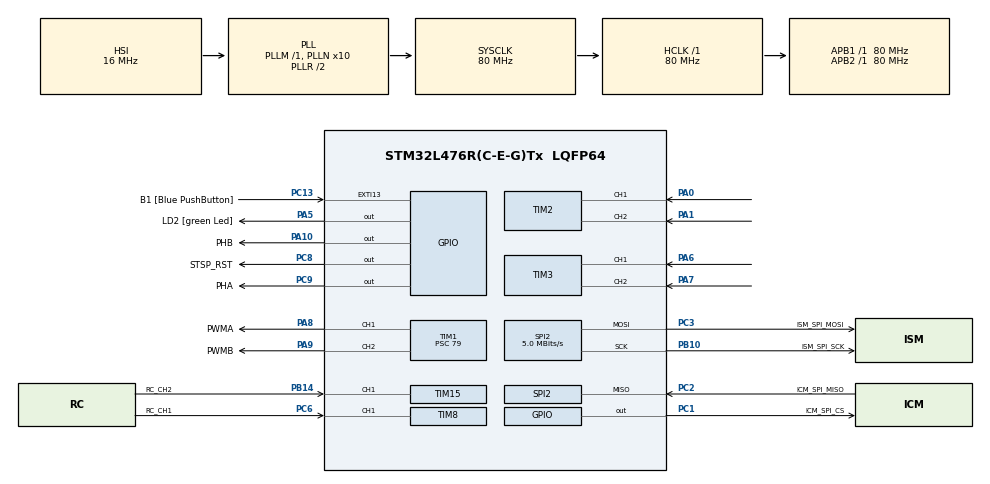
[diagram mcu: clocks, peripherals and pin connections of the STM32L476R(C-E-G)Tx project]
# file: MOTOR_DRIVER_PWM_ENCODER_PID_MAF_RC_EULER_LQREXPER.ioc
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Dma.Request0=SPI2_RX
Dma.Request1=SPI2_TX
Dma.SPI2_RX.0.Direction=DMA_PERIPH_TO_MEMORY
Dma.SPI2_RX.0.Instance=DMA1_Channel4
Dma.SPI2_RX.0.MemDataAlignment=DMA_MDATAALIGN_BYTE
Dma.SPI2_RX.0.MemInc=DMA_MINC_ENABLE
Dma.SPI2_RX.0.Mode=DMA_NORMAL
Dma.SPI2_RX.0.PeriphDataAlignment=DMA_PDATAALIGN_BYTE
Dma.SPI2_RX.0.PeriphInc=DMA_PINC_DISABLE
Dma.SPI2_RX.0.Priority=DMA_PRIORITY_LOW
Dma.SPI2_TX.1.Direction=DMA_MEMORY_TO_PERIPH
Dma.SPI2_TX.1.Instance=DMA1_Channel5
Dma.SPI2_TX.1.MemDataAlignment=DMA_MDATAALIGN_BYTE
Dma.SPI2_TX.1.MemInc=DMA_MINC_ENABLE
Dma.SPI2_TX.1.Mode=DMA_NORMAL
Dma.SPI2_TX.1.PeriphDataAlignment=DMA_PDATAALIGN_BYTE
Dma.SPI2_TX.1.PeriphInc=DMA_PINC_DISABLE
Dma.SPI2_TX.1.Priority=DMA_PRIORITY_LOW
Mcu.Family=STM32L4
Mcu.Name=STM32L476R(C-E-G)Tx
Mcu.Package=LQFP64
NVIC.DMA1_Channel4_IRQn=true\:0\:0\:false\:false\:true\:false\:true\:true
NVIC.DMA1_Channel5_IRQn=true\:0\:0\:false\:false\:true\:false\:true\:true
NVIC.PriorityGroup=NVIC_PRIORITYGROUP_4
NVIC.SPI2_IRQn=true\:0\:0\:false\:false\:true\:true\:true\:true
NVIC.TIM1_BRK_TIM15_IRQn=true\:0\:0\:false\:false\:true\:true\:true\:true
NVIC.TIM4_IRQn=true\:0\:0\:false\:false\:true\:true\:true\:true
NVIC.TIM8_BRK_IRQn=true\:0\:0\:false\:false\:true\:true\:true\:true
NVIC.TIM8_CC_IRQn=true\:0\:0\:false\:false\:true\:true\:true\:true
NVIC.TIM8_TRG_COM_IRQn=true\:0\:0\:false\:false\:true\:true\:true\:true
NVIC.TIM8_UP_IRQn=true\:0\:0\:false\:false\:true\:true\:true\:true
PA0.Signal=S_TIM2_CH1
PA1.Signal=S_TIM2_CH2
PA10.GPIO_Label=PHB
PA10.Signal=GPIO_Output
PA13\ (JTMS-SWDIO).GPIO_Label=TMS
PA13\ (JTMS-SWDIO).Signal=SYS_JTMS-SWDIO
PA14\ (JTCK-SWCLK).GPIO_Label=TCK
PA14\ (JTCK-SWCLK).Signal=SYS_JTCK-SWCLK
PA2.GPIO_Label=USART_TX
PA2.GPIO_Mode=GPIO_MODE_AF_PP
PA2.GPIO_PuPd=GPIO_NOPULL
PA2.GPIO_Speed=GPIO_SPEED_FREQ_VERY_HIGH
PA2.Signal=USART2_TX
PA3.GPIO_Label=USART_RX
PA3.GPIO_Mode=GPIO_MODE_AF_PP
PA3.GPIO_PuPd=GPIO_NOPULL
PA3.GPIO_Speed=GPIO_SPEED_FREQ_VERY_HIGH
PA3.Signal=USART2_RX
PA5.GPIO_Label=LD2 [green Led]
PA5.GPIO_ModeDefaultOutputPP=GPIO_MODE_OUTPUT_PP
PA5.GPIO_PuPd=GPIO_NOPULL
PA5.GPIO_Speed=GPIO_SPEED_FREQ_LOW
PA5.Signal=GPIO_Output
PA6.Signal=S_TIM3_CH1
PA7.Signal=S_TIM3_CH2
PA8.GPIO_Label=PWMA
PA8.Signal=S_TIM1_CH1
PA9.GPIO_Label=PWMB
PA9.Signal=S_TIM1_CH2
PB10.GPIO_Label=ISM_SPI_SCK
PB10.Mode=Full_Duplex_Master
PB10.Signal=SPI2_SCK
PB14.GPIO_Label=RC_CH2
PB14.Signal=S_TIM15_CH1
PB3\ (JTDO-TRACESWO).GPIO_Label=SWO
PB3\ (JTDO-TRACESWO).Signal=SYS_JTDO-SWO
PC1.GPIO_Label=ICM_SPI_CS
PC1.GPIO_PuPd=GPIO_PULLUP
PC1.Signal=GPIO_Output
PC13.GPIO_Label=B1 [Blue PushButton]
PC13.GPIO_ModeDefaultEXTI=GPIO_MODE_IT_FALLING
PC13.GPIO_PuPd=GPIO_NOPULL
PC13.Signal=GPXTI13
PC14-OSC32_IN\ (PC14).Signal=RCC_OSC32_IN
PC15-OSC32_OUT\ (PC15).Signal=RCC_OSC32_OUT
PC2.GPIO_Label=ICM_SPI_MISO
PC2.Mode=Full_Duplex_Master
PC2.Signal=SPI2_MISO
PC3.GPIO_Label=ISM_SPI_MOSI
PC3.Mode=Full_Duplex_Master
PC3.Signal=SPI2_MOSI
PC6.GPIO_Label=RC_CH1
PC6.Signal=S_TIM8_CH1
PC8.GPIO_Label=STSP_RST
PC8.Signal=GPIO_Output
PC9.GPIO_Label=PHA
PC9.Signal=GPIO_Output
PH0-OSC_IN\ (PH0).Signal=RCC_OSC_IN
PH1-OSC_OUT\ (PH1).Signal=RCC_OSC_OUT
ProjectManager.HeapSize=0x200
ProjectManager.StackSize=0x400
ProjectManager.TargetToolchain=STM32CubeIDE
RCC.ADCFreq_Value=64000000
RCC.AHBFreq_Value=80000000
RCC.APB1Freq_Value=80000000
RCC.APB1TimFreq_Value=80000000
RCC.APB2Freq_Value=80000000
RCC.APB2TimFreq_Value=80000000
RCC.CortexFreq_Value=80000000
RCC.HCLKFreq_Value=80000000
RCC.HSE_VALUE=8000000
RCC.HSI_VALUE=16000000
RCC.LSE_VALUE=32768
RCC.MSI_VALUE=4000000
RCC.PLLN=10
RCC.PLLSourceVirtual=RCC_PLLSOURCE_HSI
RCC.PREFETCH_ENABLE=1
RCC.SYSCLKFreq_VALUE=80000000
RCC.SYSCLKSource=RCC_SYSCLKSOURCE_PLLCLK
RCC.USBFreq_Value=64000000
RCC.VCOOutputFreq_Value=160000000
SH.S_TIM15_CH1.0=TIM15_CH1,PWM_Input_1
SH.S_TIM1_CH1.0=TIM1_CH1,PWM Generation1 CH1
SH.S_TIM1_CH2.0=TIM1_CH2,PWM Generation2 CH2
SH.S_TIM2_CH1.0=TIM2_CH1,Encoder_Interface
SH.S_TIM2_CH2.0=TIM2_CH2,Encoder_Interface
SH.S_TIM3_CH1.0=TIM3_CH1,Encoder_Interface
SH.S_TIM3_CH2.0=TIM3_CH2,Encoder_Interface
SH.S_TIM8_CH1.0=TIM8_CH1,PWM_Input_1
SPI2.BaudRatePrescaler=SPI_BAUDRATEPRESCALER_16
SPI2.CLKPhase=SPI_PHASE_2EDGE
SPI2.CLKPolarity=SPI_POLARITY_HIGH
SPI2.CalculateBaudRate=5.0 MBits/s
SPI2.DataSize=SPI_DATASIZE_8BIT
SPI2.Direction=SPI_DIRECTION_2LINES
SPI2.Mode=SPI_MODE_MASTER
SPI2.VirtualType=VM_MASTER
STMicroelectronics.X-CUBE-ALGOBUILD.1.4.0.LibraryCcDSPOoLibraryJjDSPOoLibrary=true
TIM1.Channel-PWM\ Generation1\ CH1=TIM_CHANNEL_1
TIM1.Channel-PWM\ Generation2\ CH2=TIM_CHANNEL_2
TIM1.Period=999
TIM1.Prescaler=79
TIM15.Prescaler=9
TIM4.Period=1999
TIM4.Prescaler=79
TIM8.Prescaler=9
VP_STMicroelectronics.X-CUBE-ALGOBUILD_VS_DSPOoLibraryJjLibrary_1.4.0_1.4.0.Mode=DSPOoLibraryJjLibrary
VP_TIM15_VS_ClockSourceINT.Mode=Internal
VP_TIM1_VS_ClockSourceINT.Mode=Internal
VP_TIM4_VS_ClockSourceINT.Mode=Internal
VP_TIM8_VS_ClockSourceINT.Mode=Internal
board=NUCLEO-L476RG

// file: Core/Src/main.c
/* USER CODE BEGIN Header */
/**
  ******************************************************************************
  * @file           : main.c
  * @brief          : Main program body
  ******************************************************************************
  * @attention
  *
  * Copyright (c) 2024 STMicroelectronics.
  * All rights reserved.
  *
  * This software is licensed under terms that can be found in the LICENSE file
  * in the root directory of this software component.
  * If no LICENSE file comes with this software, it is provided AS-IS.
  *
  ******************************************************************************
  */
/* USER CODE END Header */
#include "main.h"

/* USER CODE BEGIN Includes */
#include "motor_control.h"
#include "stdio.h"
#include "motor_encoder.h"
#include "pid_control.h"
#include "icm_20948.h"
#include "imu_data.h"
#include "euler_angles.h"
#include "lqr.h"
/* USER CODE END Includes */

/* USER CODE BEGIN PD */
#define RC_OFFSET 12000
/* USER CODE END PD */

SPI_HandleTypeDef hspi2;
DMA_HandleTypeDef hdma_spi2_rx;
DMA_HandleTypeDef hdma_spi2_tx;

TIM_HandleTypeDef htim1;
TIM_HandleTypeDef htim2;
TIM_HandleTypeDef htim3;
TIM_HandleTypeDef htim4;
TIM_HandleTypeDef htim8;
TIM_HandleTypeDef htim15;

/* USER CODE BEGIN PV */
const static motor_inst motor_a = { .htim_motor = &htim1,
									.htim_motor_ch = TIM_CHANNEL_1,
									.mdir_pin_number = PHA_Pin,
									.mdir_pin_port = PHA_GPIO_Port,
									.rst_pin_number = STSP_RST_Pin,
									.rst_pin_port = STSP_RST_GPIO_Port};
const static motor_inst motor_b = { .htim_motor = &htim1,
									.htim_motor_ch = TIM_CHANNEL_2,
									.mdir_pin_number = PHB_Pin,
									.mdir_pin_port = PHB_GPIO_Port,
									.rst_pin_number = STSP_RST_Pin,
									.rst_pin_port = STSP_RST_GPIO_Port};

static encoder_inst  motora_enc = 	{.first_time = 0,
											.htim_encoder = &htim3,
											.last_counter_value = 0,
											.position = 0,
											.timer_period = 0.01,
											.velocity = 0};
static encoder_inst  motorb_enc = 	{.first_time = 0,
											.htim_encoder = &htim2,
											.last_counter_value = 0,
											.position = 0,
											.timer_period = 0.01,
											.velocity = 0};
static pid_instance mota_pid = {.d_gain = 0,
								.error_integral = 0,
								.i_gain = 25,
								.integral_max = 5000,
								.last_error = 0,
								.output = 0,
								.p_gain = 20,
								.pid_max = 100,
								.sam_rate = 100};

float temp_velocity;
uint8_t timer_flag;
int32_t duty_cyclech1, duty_cyclech2;
icm_20948_data icm_data;
imu_norm imu_norm_data;
euler_angles euler_angles_robot, euler_angles_old;
StateTypeDef robot_state;
float force;
/* USER CODE END PV */

void SystemClock_Config(void);
static void MX_GPIO_Init(void);
static void MX_DMA_Init(void);
static void MX_TIM1_Init(void);
static void MX_TIM2_Init(void);
static void MX_TIM3_Init(void);
static void MX_TIM4_Init(void);
static void MX_TIM8_Init(void);
static void MX_TIM15_Init(void);
static void MX_SPI2_Init(void);

/* USER CODE BEGIN 0 */
void HAL_TIM_IC_CaptureCallback(TIM_HandleTypeDef *htim)
{
	//int32_t frequency;
	uint32_t capture_value;
	static uint8_t first_time1 = 1, first_time2 = 1;

	if (htim == &htim8)
	{
		if(first_time1 == 0)
		{
			if(htim ->Channel == HAL_TIM_ACTIVE_CHANNEL_1)
			{
				capture_value = HAL_TIM_ReadCapturedValue(htim, TIM_CHANNEL_1);
			}
			if(htim ->Channel == HAL_TIM_ACTIVE_CHANNEL_2)
			{
				duty_cyclech1 = HAL_TIM_ReadCapturedValue(htim, TIM_CHANNEL_2) - RC_OFFSET;
			}

		}
		else
		{
			first_time1 = 0;
		}
	}
	if (htim == &htim15)
	{
		if(first_time2 == 0)
		{
			if(htim ->Channel == HAL_TIM_ACTIVE_CHANNEL_1)
			{
				capture_value = HAL_TIM_ReadCapturedValue(htim, TIM_CHANNEL_1);
			}
			if(htim ->Channel == HAL_TIM_ACTIVE_CHANNEL_2)
			{
				duty_cyclech2 = HAL_TIM_ReadCapturedValue(htim, TIM_CHANNEL_2) - RC_OFFSET;
			}
		}
		else
		{
			first_time2 = 0;
		}
	}
}
/* USER CODE END 0 */

int main(void)
{

  /* MCU Configuration--------------------------------------------------------*/

  /* Reset of all peripherals, Initializes the Flash interface and the Systick. */
  HAL_Init();

  /* Configure the system clock */
  SystemClock_Config();

  /* Initialize all configured peripherals */
  MX_GPIO_Init();
  MX_DMA_Init();
  MX_TIM1_Init();
  MX_TIM2_Init();
  MX_TIM3_Init();
  MX_TIM4_Init();
  MX_TIM8_Init();
  MX_TIM15_Init();
  MX_SPI2_Init();
  /* USER CODE BEGIN 2 */

  HAL_TIM_PWM_Start(&htim1, TIM_CHANNEL_1);
  HAL_TIM_PWM_Start(&htim1, TIM_CHANNEL_2);
  enable_motor((motor_inst*)&motor_a);
  enable_motor((motor_inst*)&motor_b);
//  HAL_Delay(100);
//  set_speed_open((motor_inst*)&motor_a, 20.0);
//  set_speed_open((motor_inst*)&motor_b, 20.0);
//  HAL_Delay(3000);
//  set_speed_open((motor_inst*)&motor_a, -10.0);
//   set_speed_open((motor_inst*)&motor_b, -20.0);
//   HAL_Delay(3000);
//   disable_motor((motor_inst*)&motor_a);
//   disable_motor((motor_inst*)&motor_b);
  HAL_Delay(1000);
  reset_encoder(&motora_enc);
  reset_encoder(&motorb_enc);
  reset_pid(&mota_pid);
  icm_20948_init();
  icm_20948_read_data(&icm_data);
  sensor2imu(icm_data, &imu_norm_data);
  complementary_filter_euler(imu_norm_data,  &euler_angles_robot);
  euler_angles_old = euler_angles_robot;
  /* USER CODE END 2 */

  /* Infinite loop */
  /* USER CODE BEGIN WHILE */
  while (1)
  {
	  if(timer_flag)
	  {
		  timer_flag = 0;
		  get_encoder_speed(&motora_enc);
		  get_encoder_speed(&motorb_enc);
		  temp_velocity = motora_enc.velocity;
		  //apply_pid(&mota_pid, 5 - temp_velocity);
//		  set_speed_open((motor_inst*)&motor_a, 10.0);
//		  set_speed_open((motor_inst*)&motor_b, 10.0);
		  icm_20948_read_data(&icm_data);
		  sensor2imu(icm_data, &imu_norm_data);
		  complementary_filter_euler(imu_norm_data,  &euler_angles_robot);
		  robot_state.angle = euler_angles_robot.pitch;
		  robot_state.angle_vel = (euler_angles_robot.pitch -
				  	  euler_angles_old.pitch) * SAMPLE_RATE;
		  robot_state.position = (motora_enc.position + motorb_enc.position) / 2 ;
		  robot_state.velocity = (motora_enc.velocity + motorb_enc.velocity) / 2 ;
		  euler_angles_old = euler_angles_robot;
		  apply_lqr(robot_state, &force);
		  if (euler_angles_robot.pitch < 1.0 && euler_angles_robot.pitch > -1.0)
		  {
			  apply_force((motor_inst*)&motor_a, force, robot_state.velocity);
			  apply_force((motor_inst*)&motor_b, force, robot_state.velocity);
		  }
		  else
		  {
			  set_speed_zero((motor_inst*)&motor_a);
			  set_speed_zero((motor_inst*)&motor_b);
		  }
	  }
    /* USER CODE END WHILE */

  }
}

void SystemClock_Config(void)
{
  RCC_OscInitTypeDef RCC_OscInitStruct = {0};
  RCC_ClkInitTypeDef RCC_ClkInitStruct = {0};

  /** Configure the main internal regulator output voltage
  */
  if (HAL_PWREx_ControlVoltageScaling(PWR_REGULATOR_VOLTAGE_SCALE1) != HAL_OK)
  {
    Error_Handler();
  }

  /** Initializes the RCC Oscillators according to the specified parameters
  * in the RCC_OscInitTypeDef structure.
  */
  RCC_OscInitStruct.OscillatorType = RCC_OSCILLATORTYPE_HSI;
  RCC_OscInitStruct.HSIState = RCC_HSI_ON;
  RCC_OscInitStruct.HSICalibrationValue = RCC_HSICALIBRATION_DEFAULT;
  RCC_OscInitStruct.PLL.PLLState = RCC_PLL_ON;
  RCC_OscInitStruct.PLL.PLLSource = RCC_PLLSOURCE_HSI;
  RCC_OscInitStruct.PLL.PLLM = 1;
  RCC_OscInitStruct.PLL.PLLN = 10;
  RCC_OscInitStruct.PLL.PLLP = RCC_PLLP_DIV7;
  RCC_OscInitStruct.PLL.PLLQ = RCC_PLLQ_DIV2;
  RCC_OscInitStruct.PLL.PLLR = RCC_PLLR_DIV2;
  if (HAL_RCC_OscConfig(&RCC_OscInitStruct) != HAL_OK)
  {
    Error_Handler();
  }

  /** Initializes the CPU, AHB and APB buses clocks
  */
  RCC_ClkInitStruct.ClockType = RCC_CLOCKTYPE_HCLK|RCC_CLOCKTYPE_SYSCLK
                              |RCC_CLOCKTYPE_PCLK1|RCC_CLOCKTYPE_PCLK2;
  RCC_ClkInitStruct.SYSCLKSource = RCC_SYSCLKSOURCE_PLLCLK;
  RCC_ClkInitStruct.AHBCLKDivider = RCC_SYSCLK_DIV1;
  RCC_ClkInitStruct.APB1CLKDivider = RCC_HCLK_DIV1;
  RCC_ClkInitStruct.APB2CLKDivider = RCC_HCLK_DIV1;

  if (HAL_RCC_ClockConfig(&RCC_ClkInitStruct, FLASH_LATENCY_4) != HAL_OK)
  {
    Error_Handler();
  }
}

static void MX_SPI2_Init(void)
{

  /* SPI2 parameter configuration*/
  hspi2.Instance = SPI2;
  hspi2.Init.Mode = SPI_MODE_MASTER;
  hspi2.Init.Direction = SPI_DIRECTION_2LINES;
  hspi2.Init.DataSize = SPI_DATASIZE_8BIT;
  hspi2.Init.CLKPolarity = SPI_POLARITY_HIGH;
  hspi2.Init.CLKPhase = SPI_PHASE_2EDGE;
  hspi2.Init.NSS = SPI_NSS_SOFT;
  hspi2.Init.BaudRatePrescaler = SPI_BAUDRATEPRESCALER_16;
  hspi2.Init.FirstBit = SPI_FIRSTBIT_MSB;
  hspi2.Init.TIMode = SPI_TIMODE_DISABLE;
  hspi2.Init.CRCCalculation = SPI_CRCCALCULATION_DISABLE;
  hspi2.Init.CRCPolynomial = 7;
  hspi2.Init.CRCLength = SPI_CRC_LENGTH_DATASIZE;
  hspi2.Init.NSSPMode = SPI_NSS_PULSE_DISABLE;
  if (HAL_SPI_Init(&hspi2) != HAL_OK)
  {
    Error_Handler();
  }

}

static void MX_TIM1_Init(void)
{

  TIM_ClockConfigTypeDef sClockSourceConfig = {0};
  TIM_MasterConfigTypeDef sMasterConfig = {0};
  TIM_OC_InitTypeDef sConfigOC = {0};
  TIM_BreakDeadTimeConfigTypeDef sBreakDeadTimeConfig = {0};

  /* USER CODE BEGIN TIM1_Init 1 */
  // 80 MHz/ ( 79 + 1) = 1 MHz timer
  // 1 MHZ/ (999 + 1) = 1 kHz
  // 500 / (999 + 1) = 0.5
  /* USER CODE END TIM1_Init 1 */
  htim1.Instance = TIM1;
  htim1.Init.Prescaler = 79;
  htim1.Init.CounterMode = TIM_COUNTERMODE_UP;
  htim1.Init.Period = 9999;
  htim1.Init.ClockDivision = TIM_CLOCKDIVISION_DIV1;
  htim1.Init.RepetitionCounter = 0;
  htim1.Init.AutoReloadPreload = TIM_AUTORELOAD_PRELOAD_DISABLE;
  if (HAL_TIM_Base_Init(&htim1) != HAL_OK)
  {
    Error_Handler();
  }
  sClockSourceConfig.ClockSource = TIM_CLOCKSOURCE_INTERNAL;
  if (HAL_TIM_ConfigClockSource(&htim1, &sClockSourceConfig) != HAL_OK)
  {
    Error_Handler();
  }
  if (HAL_TIM_PWM_Init(&htim1) != HAL_OK)
  {
    Error_Handler();
  }
  sMasterConfig.MasterOutputTrigger = TIM_TRGO_RESET;
  sMasterConfig.MasterOutputTrigger2 = TIM_TRGO2_RESET;
  sMasterConfig.MasterSlaveMode = TIM_MASTERSLAVEMODE_DISABLE;
  if (HAL_TIMEx_MasterConfigSynchronization(&htim1, &sMasterConfig) != HAL_OK)
  {
    Error_Handler();
  }
  sConfigOC.OCMode = TIM_OCMODE_PWM1;
  sConfigOC.Pulse = 0;
  sConfigOC.OCPolarity = TIM_OCPOLARITY_HIGH;
  sConfigOC.OCNPolarity = TIM_OCNPOLARITY_HIGH;
  sConfigOC.OCFastMode = TIM_OCFAST_DISABLE;
  sConfigOC.OCIdleState = TIM_OCIDLESTATE_RESET;
  sConfigOC.OCNIdleState = TIM_OCNIDLESTATE_RESET;
  if (HAL_TIM_PWM_ConfigChannel(&htim1, &sConfigOC, TIM_CHANNEL_1) != HAL_OK)
  {
    Error_Handler();
  }
  if (HAL_TIM_PWM_ConfigChannel(&htim1, &sConfigOC, TIM_CHANNEL_2) != HAL_OK)
  {
    Error_Handler();
  }
  sBreakDeadTimeConfig.OffStateRunMode = TIM_OSSR_DISABLE;
  sBreakDeadTimeConfig.OffStateIDLEMode = TIM_OSSI_DISABLE;
  sBreakDeadTimeConfig.LockLevel = TIM_LOCKLEVEL_OFF;
  sBreakDeadTimeConfig.DeadTime = 0;
  sBreakDeadTimeConfig.BreakState = TIM_BREAK_DISABLE;
  sBreakDeadTimeConfig.BreakPolarity = TIM_BREAKPOLARITY_HIGH;
  sBreakDeadTimeConfig.BreakFilter = 0;
  sBreakDeadTimeConfig.Break2State = TIM_BREAK2_DISABLE;
  sBreakDeadTimeConfig.Break2Polarity = TIM_BREAK2POLARITY_HIGH;
  sBreakDeadTimeConfig.Break2Filter = 0;
  sBreakDeadTimeConfig.AutomaticOutput = TIM_AUTOMATICOUTPUT_DISABLE;
  if (HAL_TIMEx_ConfigBreakDeadTime(&htim1, &sBreakDeadTimeConfig) != HAL_OK)
  {
    Error_Handler();
  }
  HAL_TIM_MspPostInit(&htim1);

}

static void MX_TIM2_Init(void)
{

  TIM_Encoder_InitTypeDef sConfig = {0};
  TIM_MasterConfigTypeDef sMasterConfig = {0};

  htim2.Instance = TIM2;
  htim2.Init.Prescaler = 0;
  htim2.Init.CounterMode = TIM_COUNTERMODE_UP;
  htim2.Init.Period = 4294967295;
  htim2.Init.ClockDivision = TIM_CLOCKDIVISION_DIV1;
  htim2.Init.AutoReloadPreload = TIM_AUTORELOAD_PRELOAD_DISABLE;
  sConfig.EncoderMode = TIM_ENCODERMODE_TI1;
  sConfig.IC1Polarity = TIM_ICPOLARITY_RISING;
  sConfig.IC1Selection = TIM_ICSELECTION_DIRECTTI;
  sConfig.IC1Prescaler = TIM_ICPSC_DIV1;
  sConfig.IC1Filter = 0;
  sConfig.IC2Polarity = TIM_ICPOLARITY_RISING;
  sConfig.IC2Selection = TIM_ICSELECTION_DIRECTTI;
  sConfig.IC2Prescaler = TIM_ICPSC_DIV1;
  sConfig.IC2Filter = 0;
  if (HAL_TIM_Encoder_Init(&htim2, &sConfig) != HAL_OK)
  {
    Error_Handler();
  }
  sMasterConfig.MasterOutputTrigger = TIM_TRGO_RESET;
  sMasterConfig.MasterSlaveMode = TIM_MASTERSLAVEMODE_DISABLE;
  if (HAL_TIMEx_MasterConfigSynchronization(&htim2, &sMasterConfig) != HAL_OK)
  {
    Error_Handler();
  }
  /* USER CODE BEGIN TIM2_Init 2 */
  HAL_TIM_Encoder_Start(&htim2, TIM_CHANNEL_ALL);
  /* USER CODE END TIM2_Init 2 */

}

static void MX_TIM3_Init(void)
{

  TIM_Encoder_InitTypeDef sConfig = {0};
  TIM_MasterConfigTypeDef sMasterConfig = {0};

  htim3.Instance = TIM3;
  htim3.Init.Prescaler = 0;
  htim3.Init.CounterMode = TIM_COUNTERMODE_UP;
  htim3.Init.Period = 65535;
  htim3.Init.ClockDivision = TIM_CLOCKDIVISION_DIV1;
  htim3.Init.AutoReloadPreload = TIM_AUTORELOAD_PRELOAD_DISABLE;
  sConfig.EncoderMode = TIM_ENCODERMODE_TI1;
  sConfig.IC1Polarity = TIM_ICPOLARITY_RISING;
  sConfig.IC1Selection = TIM_ICSELECTION_DIRECTTI;
  sConfig.IC1Prescaler = TIM_ICPSC_DIV1;
  sConfig.IC1Filter = 0;
  sConfig.IC2Polarity = TIM_ICPOLARITY_RISING;
  sConfig.IC2Selection = TIM_ICSELECTION_DIRECTTI;
  sConfig.IC2Prescaler = TIM_ICPSC_DIV1;
  sConfig.IC2Filter = 0;
  if (HAL_TIM_Encoder_Init(&htim3, &sConfig) != HAL_OK)
  {
    Error_Handler();
  }
  sMasterConfig.MasterOutputTrigger = TIM_TRGO_RESET;
  sMasterConfig.MasterSlaveMode = TIM_MASTERSLAVEMODE_DISABLE;
  if (HAL_TIMEx_MasterConfigSynchronization(&htim3, &sMasterConfig) != HAL_OK)
  {
    Error_Handler();
  }
  /* USER CODE BEGIN TIM3_Init 2 */
  HAL_TIM_Encoder_Start(&htim3, TIM_CHANNEL_ALL);
  /* USER CODE END TIM3_Init 2 */

}

static void MX_TIM4_Init(void)
{

  TIM_ClockConfigTypeDef sClockSourceConfig = {0};
  TIM_MasterConfigTypeDef sMasterConfig = {0};

  htim4.Instance = TIM4;
  htim4.Init.Prescaler = 79;
  htim4.Init.CounterMode = TIM_COUNTERMODE_UP;
  htim4.Init.Period = 1999;
  htim4.Init.ClockDivision = TIM_CLOCKDIVISION_DIV1;
  htim4.Init.AutoReloadPreload = TIM_AUTORELOAD_PRELOAD_DISABLE;
  if (HAL_TIM_Base_Init(&htim4) != HAL_OK)
  {
    Error_Handler();
  }
  sClockSourceConfig.ClockSource = TIM_CLOCKSOURCE_INTERNAL;
  if (HAL_TIM_ConfigClockSource(&htim4, &sClockSourceConfig) != HAL_OK)
  {
    Error_Handler();
  }
  sMasterConfig.MasterOutputTrigger = TIM_TRGO_RESET;
  sMasterConfig.MasterSlaveMode = TIM_MASTERSLAVEMODE_DISABLE;
  if (HAL_TIMEx_MasterConfigSynchronization(&htim4, &sMasterConfig) != HAL_OK)
  {
    Error_Handler();
  }
  /* USER CODE BEGIN TIM4_Init 2 */
  htim4.Instance->PSC = SystemCoreClock / (1e6) - 1;
  htim4.Instance->ARR = 1e6 / (SAMPLE_RATE) - 1;

  HAL_TIM_Base_Start_IT(&htim4);

  /* USER CODE END TIM4_Init 2 */

}

static void MX_TIM8_Init(void)
{

  TIM_ClockConfigTypeDef sClockSourceConfig = {0};
  TIM_SlaveConfigTypeDef sSlaveConfig = {0};
  TIM_IC_InitTypeDef sConfigIC = {0};
  TIM_MasterConfigTypeDef sMasterConfig = {0};

  htim8.Instance = TIM8;
  htim8.Init.Prescaler = 9;
  htim8.Init.CounterMode = TIM_COUNTERMODE_UP;
  htim8.Init.Period = 65535;
  htim8.Init.ClockDivision = TIM_CLOCKDIVISION_DIV1;
  htim8.Init.RepetitionCounter = 0;
  htim8.Init.AutoReloadPreload = TIM_AUTORELOAD_PRELOAD_DISABLE;
  if (HAL_TIM_Base_Init(&htim8) != HAL_OK)
  {
    Error_Handler();
  }
  sClockSourceConfig.ClockSource = TIM_CLOCKSOURCE_INTERNAL;
  if (HAL_TIM_ConfigClockSource(&htim8, &sClockSourceConfig) != HAL_OK)
  {
    Error_Handler();
  }
  if (HAL_TIM_IC_Init(&htim8) != HAL_OK)
  {
    Error_Handler();
  }
  sSlaveConfig.SlaveMode = TIM_SLAVEMODE_RESET;
  sSlaveConfig.InputTrigger = TIM_TS_TI1FP1;
  sSlaveConfig.TriggerPolarity = TIM_INPUTCHANNELPOLARITY_RISING;
  sSlaveConfig.TriggerPrescaler = TIM_ICPSC_DIV1;
  sSlaveConfig.TriggerFilter = 0;
  if (HAL_TIM_SlaveConfigSynchro(&htim8, &sSlaveConfig) != HAL_OK)
  {
    Error_Handler();
  }
  sConfigIC.ICPolarity = TIM_INPUTCHANNELPOLARITY_RISING;
  sConfigIC.ICSelection = TIM_ICSELECTION_DIRECTTI;
  sConfigIC.ICPrescaler = TIM_ICPSC_DIV1;
  sConfigIC.ICFilter = 0;
  if (HAL_TIM_IC_ConfigChannel(&htim8, &sConfigIC, TIM_CHANNEL_1) != HAL_OK)
  {
    Error_Handler();
  }
  sConfigIC.ICPolarity = TIM_INPUTCHANNELPOLARITY_FALLING;
  sConfigIC.ICSelection = TIM_ICSELECTION_INDIRECTTI;
  if (HAL_TIM_IC_ConfigChannel(&htim8, &sConfigIC, TIM_CHANNEL_2) != HAL_OK)
  {
    Error_Handler();
  }
  sMasterConfig.MasterOutputTrigger = TIM_TRGO_RESET;
  sMasterConfig.MasterOutputTrigger2 = TIM_TRGO2_RESET;
  sMasterConfig.MasterSlaveMode = TIM_MASTERSLAVEMODE_DISABLE;
  if (HAL_TIMEx_MasterConfigSynchronization(&htim8, &sMasterConfig) != HAL_OK)
  {
    Error_Handler();
  }
  /* USER CODE BEGIN TIM8_Init 2 */
  HAL_TIM_IC_Start_IT(&htim8, TIM_CHANNEL_1);
  HAL_TIM_IC_Start_IT(&htim8, TIM_CHANNEL_2);
  /* USER CODE END TIM8_Init 2 */

}

static void MX_TIM15_Init(void)
{

  TIM_ClockConfigTypeDef sClockSourceConfig = {0};
  TIM_SlaveConfigTypeDef sSlaveConfig = {0};
  TIM_IC_InitTypeDef sConfigIC = {0};
  TIM_MasterConfigTypeDef sMasterConfig = {0};

  htim15.Instance = TIM15;
  htim15.Init.Prescaler = 9;
  htim15.Init.CounterMode = TIM_COUNTERMODE_UP;
  htim15.Init.Period = 65535;
  htim15.Init.ClockDivision = TIM_CLOCKDIVISION_DIV1;
  htim15.Init.RepetitionCounter = 0;
  htim15.Init.AutoReloadPreload = TIM_AUTORELOAD_PRELOAD_DISABLE;
  if (HAL_TIM_Base_Init(&htim15) != HAL_OK)
  {
    Error_Handler();
  }
  sClockSourceConfig.ClockSource = TIM_CLOCKSOURCE_INTERNAL;
  if (HAL_TIM_ConfigClockSource(&htim15, &sClockSourceConfig) != HAL_OK)
  {
    Error_Handler();
  }
  if (HAL_TIM_IC_Init(&htim15) != HAL_OK)
  {
    Error_Handler();
  }
  sSlaveConfig.SlaveMode = TIM_SLAVEMODE_RESET;
  sSlaveConfig.InputTrigger = TIM_TS_TI1FP1;
  sSlaveConfig.TriggerPolarity = TIM_INPUTCHANNELPOLARITY_RISING;
  sSlaveConfig.TriggerPrescaler = TIM_ICPSC_DIV1;
  sSlaveConfig.TriggerFilter = 0;
  if (HAL_TIM_SlaveConfigSynchro(&htim15, &sSlaveConfig) != HAL_OK)
  {
    Error_Handler();
  }
  sConfigIC.ICPolarity = TIM_INPUTCHANNELPOLARITY_RISING;
  sConfigIC.ICSelection = TIM_ICSELECTION_DIRECTTI;
  sConfigIC.ICPrescaler = TIM_ICPSC_DIV1;
  sConfigIC.ICFilter = 0;
  if (HAL_TIM_IC_ConfigChannel(&htim15, &sConfigIC, TIM_CHANNEL_1) != HAL_OK)
  {
    Error_Handler();
  }
  sConfigIC.ICPolarity = TIM_INPUTCHANNELPOLARITY_FALLING;
  sConfigIC.ICSelection = TIM_ICSELECTION_INDIRECTTI;
  if (HAL_TIM_IC_ConfigChannel(&htim15, &sConfigIC, TIM_CHANNEL_2) != HAL_OK)
  {
    Error_Handler();
  }
  sMasterConfig.MasterOutputTrigger = TIM_TRGO_RESET;
  sMasterConfig.MasterSlaveMode = TIM_MASTERSLAVEMODE_DISABLE;
  if (HAL_TIMEx_MasterConfigSynchronization(&htim15, &sMasterConfig) != HAL_OK)
  {
    Error_Handler();
  }
  /* USER CODE BEGIN TIM15_Init 2 */
  HAL_TIM_IC_Start_IT(&htim15, TIM_CHANNEL_1);
  HAL_TIM_IC_Start_IT(&htim15, TIM_CHANNEL_2);
  /* USER CODE END TIM15_Init 2 */

}

static void MX_DMA_Init(void)
{

  /* DMA controller clock enable */
  __HAL_RCC_DMA1_CLK_ENABLE();

  /* DMA interrupt init */
  /* DMA1_Channel4_IRQn interrupt configuration */
  HAL_NVIC_SetPriority(DMA1_Channel4_IRQn, 0, 0);
  HAL_NVIC_EnableIRQ(DMA1_Channel4_IRQn);
  /* DMA1_Channel5_IRQn interrupt configuration */
  HAL_NVIC_SetPriority(DMA1_Channel5_IRQn, 0, 0);
  HAL_NVIC_EnableIRQ(DMA1_Channel5_IRQn);

}

static void MX_GPIO_Init(void)
{
  GPIO_InitTypeDef GPIO_InitStruct = {0};

  /* GPIO Ports Clock Enable */
  __HAL_RCC_GPIOC_CLK_ENABLE();
  __HAL_RCC_GPIOH_CLK_ENABLE();
  __HAL_RCC_GPIOA_CLK_ENABLE();
  __HAL_RCC_GPIOB_CLK_ENABLE();

  /*Configure GPIO pin Output Level */
  HAL_GPIO_WritePin(GPIOC, ICM_SPI_CS_Pin|STSP_RST_Pin|PHA_Pin, GPIO_PIN_RESET);

  /*Configure GPIO pin Output Level */
  HAL_GPIO_WritePin(GPIOA, LD2_Pin|PHB_Pin, GPIO_PIN_RESET);

  /*Configure GPIO pin : B1_Pin */
  GPIO_InitStruct.Pin = B1_Pin;
  GPIO_InitStruct.Mode = GPIO_MODE_IT_FALLING;
  GPIO_InitStruct.Pull = GPIO_NOPULL;
  HAL_GPIO_Init(B1_GPIO_Port, &GPIO_InitStruct);

  /*Configure GPIO pin : ICM_SPI_CS_Pin */
  GPIO_InitStruct.Pin = ICM_SPI_CS_Pin;
  GPIO_InitStruct.Mode = GPIO_MODE_OUTPUT_PP;
  GPIO_InitStruct.Pull = GPIO_PULLUP;
  GPIO_InitStruct.Speed = GPIO_SPEED_FREQ_LOW;
  HAL_GPIO_Init(ICM_SPI_CS_GPIO_Port, &GPIO_InitStruct);

  /*Configure GPIO pins : USART_TX_Pin USART_RX_Pin */
  GPIO_InitStruct.Pin = USART_TX_Pin|USART_RX_Pin;
  GPIO_InitStruct.Mode = GPIO_MODE_AF_PP;
  GPIO_InitStruct.Pull = GPIO_NOPULL;
  GPIO_InitStruct.Speed = GPIO_SPEED_FREQ_VERY_HIGH;
  GPIO_InitStruct.Alternate = GPIO_AF7_USART2;
  HAL_GPIO_Init(GPIOA, &GPIO_InitStruct);

  /*Configure GPIO pins : LD2_Pin PHB_Pin */
  GPIO_InitStruct.Pin = LD2_Pin|PHB_Pin;
  GPIO_InitStruct.Mode = GPIO_MODE_OUTPUT_PP;
  GPIO_InitStruct.Pull = GPIO_NOPULL;
  GPIO_InitStruct.Speed = GPIO_SPEED_FREQ_LOW;
  HAL_GPIO_Init(GPIOA, &GPIO_InitStruct);

  /*Configure GPIO pins : STSP_RST_Pin PHA_Pin */
  GPIO_InitStruct.Pin = STSP_RST_Pin|PHA_Pin;
  GPIO_InitStruct.Mode = GPIO_MODE_OUTPUT_PP;
  GPIO_InitStruct.Pull = GPIO_NOPULL;
  GPIO_InitStruct.Speed = GPIO_SPEED_FREQ_LOW;
  HAL_GPIO_Init(GPIOC, &GPIO_InitStruct);

}

/* USER CODE BEGIN 4 */
int _write(int le, char *ptr, int len)
{
	int DataIdx;
	for(DataIdx = 0; DataIdx < len; DataIdx++)
	{
		ITM_SendChar(*ptr++);
	}
	return len;
}

void HAL_TIM_PeriodElapsedCallback(TIM_HandleTypeDef *htim)
{
	if(htim == &htim4)
	{
		timer_flag = 1;
	}
}
/* USER CODE END 4 */

void Error_Handler(void)
{
  __disable_irq();
  while (1)
  {
  }
}
